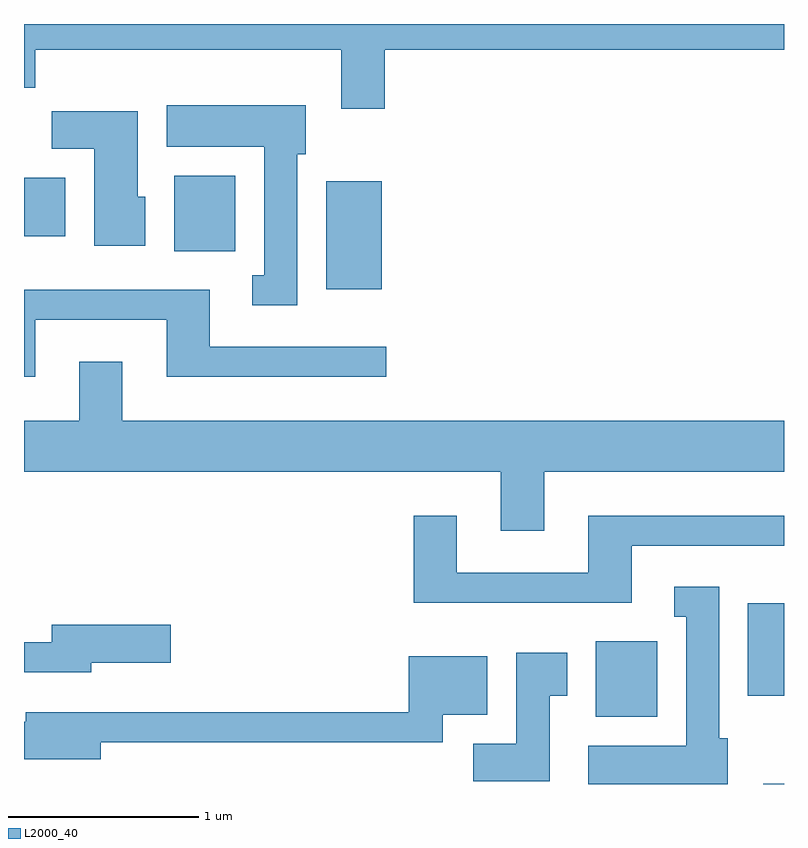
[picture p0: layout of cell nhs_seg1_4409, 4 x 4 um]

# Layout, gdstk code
import gdstk
lib = gdstk.Library(unit=1e-6, precision=1e-09)
def R(c, l, rs):  # rectangles x0, y0, x1, y1
    for r in rs: c.add(gdstk.rectangle(r[:2], r[2:], *l))
def P(c, l, *ps):  # polygons
    for p in ps: c.add(gdstk.Polygon(p, *l))
L2000_40 = (2000, 40)

nhs_seg1_4409 = lib.new_cell('nhs_seg1_4409')
R(nhs_seg1_4409, L2000_40, [(321.501,895.712,321.611,895.714), (320.621,896.066,320.944,896.464), (321.421,896.176,321.611,896.664), (319.201,898.316,319.494,898.884), (318.401,898.516,318.724,898.914), (317.611,898.596,317.829,898.904)])
P(nhs_seg1_4409, L2000_40, [(319.509,899.576),(321.611,899.576),(321.611,899.712),(317.611,899.712),(317.611,899.376),(317.669,899.376),(317.669,899.576),(319.281,899.576),(319.281,899.266),(319.509,899.266)],
  [(319.049,899.026),(319.094,899.026),(319.094,899.284),(318.361,899.284),(318.361,899.066),(318.876,899.066),(318.876,898.389),(318.813,898.389),(318.813,898.231),(319.049,898.231)],
  [(318.249,898.804),(318.209,898.804),(318.209,899.254),(317.756,899.254),(317.756,899.056),(317.981,899.056),(317.981,898.546),(318.249,898.546)],
  [(317.669,898.156),(318.361,898.156),(318.361,897.856),(319.518,897.856),(319.518,898.014),(318.589,898.014),(318.589,898.314),(317.611,898.314),(317.611,897.856),(317.669,897.856)],
  [(320.349,897.356),(321.611,897.356),(321.611,897.624),(318.129,897.624),(318.129,897.934),(317.901,897.934),(317.901,897.624),(317.611,897.624),(317.611,897.356),(320.121,897.356),(320.121,897.046),(320.349,897.046)],
  [(320.809,896.966),(321.611,896.966),(321.611,897.124),(320.581,897.124),(320.581,896.824),(319.889,896.824),(319.889,897.124),(319.661,897.124),(319.661,896.666),(320.809,896.666)],
  [(321.314,895.954),(321.269,895.954),(321.269,896.749),(321.033,896.749),(321.033,896.591),(321.096,896.591),(321.096,895.914),(320.581,895.914),(320.581,895.712),(321.314,895.712)],
  [(317.964,896.351),(318.384,896.351),(318.384,896.549),(317.756,896.549),(317.756,896.459),(317.611,896.459),(317.611,896.301),(317.964,896.301)],
  [(320.379,896.176),(320.469,896.176),(320.469,896.404),(320.201,896.404),(320.201,895.924),(319.976,895.924),(319.976,895.726),(320.379,895.726)],
  [(318.014,895.931),(319.814,895.931),(319.814,896.076),(320.049,896.076),(320.049,896.384),(319.636,896.384),(319.636,896.089),(317.621,896.089),(317.621,896.039),(317.611,896.039),(317.611,895.841),(318.014,895.841)])

lib.write_gds('nhs_seg1_4409.gds')
